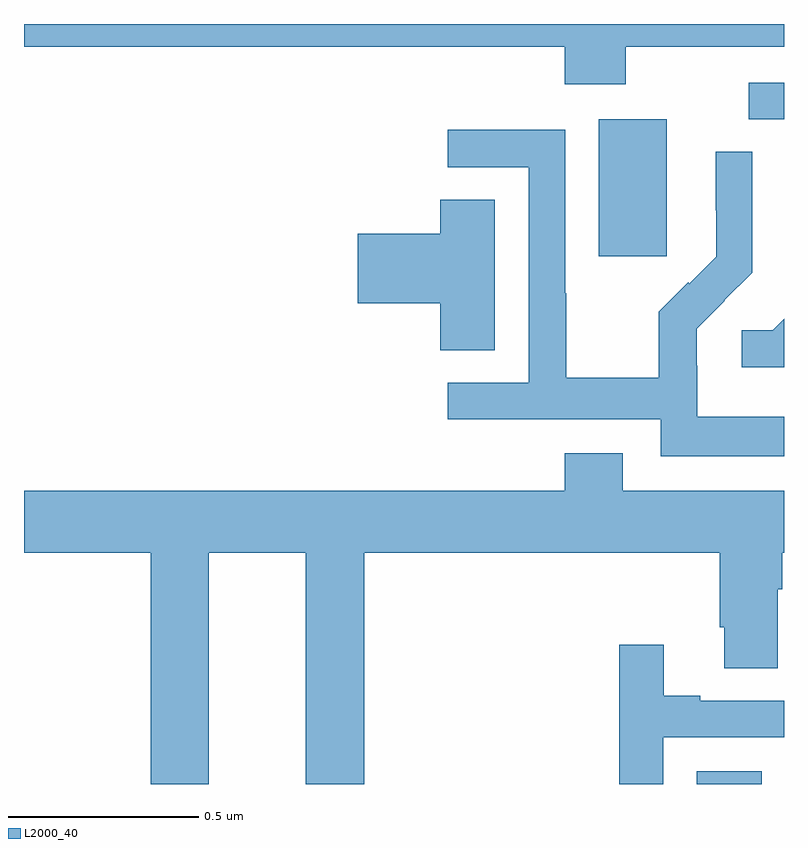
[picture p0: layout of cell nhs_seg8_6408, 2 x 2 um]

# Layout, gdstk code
import gdstk
lib = gdstk.Library(unit=1e-6, precision=1e-09)
def R(c, l, rs):  # rectangles x0, y0, x1, y1
    for r in rs: c.add(gdstk.rectangle(r[:2], r[2:], *l))
def P(c, l, *ps):  # polygons
    for p in ps: c.add(gdstk.Polygon(p, *l))
L2000_40 = (2000, 40)

nhs_seg8_6408 = lib.new_cell('nhs_seg8_6408')
R(nhs_seg8_6408, L2000_40, [(197.771,1107.9,197.941,1107.934), (197.513,1109.289,197.692,1109.65), (197.907,1109.649,198,1109.745)])
P(nhs_seg8_6408, L2000_40, [(197.583,1109.84),(198,1109.84),(198,1109.9),(196,1109.9),(196,1109.84),(197.423,1109.84),(197.423,1109.741),(197.583,1109.741)],
  [(198,1108.867),(197.772,1108.867),(197.772,1109.001),(197.77,1109.001),(197.77,1109.098),(197.844,1109.172),(197.843,1109.173),(197.916,1109.246),(197.916,1109.564),(197.82,1109.564),(197.82,1109.41),(197.822,1109.41),(197.822,1109.288),(197.751,1109.217),(197.748,1109.22),(197.671,1109.143),(197.671,1108.969),(197.427,1108.969),(197.427,1109.192),(197.424,1109.192),(197.424,1109.622),(197.115,1109.622),(197.115,1109.523),(197.328,1109.523),(197.328,1108.956),(197.115,1108.956),(197.115,1108.86),(197.676,1108.86),(197.676,1108.763),(198,1108.763)],
  [(197.239,1109.438),(197.096,1109.438),(197.096,1109.348),(196.878,1109.348),(196.878,1109.165),(197.096,1109.165),(197.096,1109.041),(197.239,1109.041)],
  [(198,1109.124),(197.97,1109.094),(197.889,1109.094),(197.889,1108.997),(198,1108.997)],
  [(196.486,1108.508),(196.742,1108.508),(196.742,1107.9),(196.895,1107.9),(196.895,1108.508),(197.831,1108.508),(197.831,1108.312),(197.843,1108.312),(197.843,1108.204),(197.983,1108.204),(197.983,1108.412),(197.996,1108.412),(197.996,1108.508),(198,1108.508),(198,1108.672),(197.575,1108.672),(197.575,1108.771),(197.423,1108.771),(197.423,1108.672),(196,1108.672),(196,1108.508),(196.334,1108.508),(196.334,1107.9),(196.486,1107.9)],
  [(197.682,1108.023),(198,1108.023),(198,1108.119),(197.779,1108.119),(197.779,1108.132),(197.683,1108.132),(197.683,1108.267),(197.566,1108.267),(197.566,1107.9),(197.682,1107.9)])

lib.write_gds('nhs_seg8_6408.gds')
